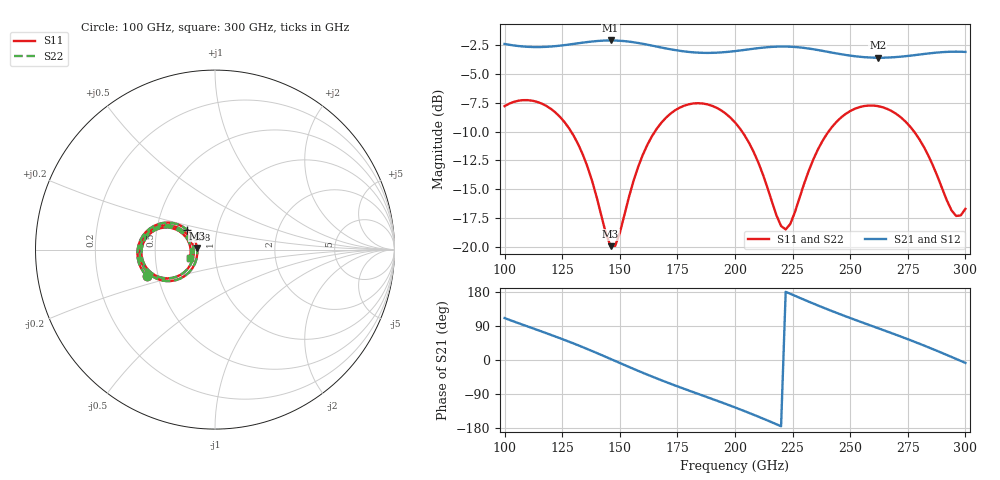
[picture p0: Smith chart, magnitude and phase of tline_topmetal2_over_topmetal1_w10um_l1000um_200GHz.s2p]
#  GHZ S DB R 50
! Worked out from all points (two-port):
!   101 points, 100 GHz to 300 GHz, reference 50 ohm
!   highest |S21| = -2.09 dB at 146 GHz (marker M1); lowest = -3.6 dB at 262 GHz (marker M2)
!   |S21| within 3 dB of the highest: start of sweep to end of sweep
!   lowest |S11| = -20.0 dB at 146 GHz (marker M3), VSWR 1.22, Z = 40.9 + j0.766 ohm
!   |S11| at or under -10 dB: 128.9 GHz to 165.3 GHz (36.4 GHz wide, 24.8 % of centre); 203.1 GHz to 240.6 GHz (37.57 GHz wide, 16.9 % of centre); 277.7 GHz to end of sweep
!   |S22| runs from -20.0 to -7.3 dB; largest |S21 - S12| = 8.9e-14
!   S11 on the Smith chart (normalised r, x): 100 GHz: 0.43, -0.15; 138 GHz: 0.71, +0.17; 300 GHz: 0.75, -0.07
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100  -7.79 -159.1  -2.39 110.6  -2.39 110.6  -7.79 -159.0
108  -7.27 -173.5  -2.61 92.9  -2.61 92.9  -7.27 -173.4
118  -7.76 169.1  -2.64 71.0  -2.64 71.0  -7.76 169.2
126  -9.18 156.0  -2.49 52.9  -2.49 52.9  -9.18 156.0
134  -12.02 145.8  -2.27 33.7  -2.27 33.7  -12.03 145.8
138  -14.31 144.5  -2.18 23.6  -2.18 23.6  -14.31 144.6
146  -19.96 174.7  -2.09 2.8  -2.09 2.8  -19.96 174.8
150  -18.81 -153.8  -2.11 -7.8  -2.11 -7.8  -18.81 -153.7
156  -14.26 -138.7  -2.24 -23.5  -2.24 -23.5  -14.26 -138.7
168  -9.24 -150.4  -2.70 -53.3  -2.70 -53.3  -9.24 -150.3
184  -7.54 -176.3  -3.15 -89.5  -3.15 -89.5  -7.54 -176.3
200  -9.20 158.9  -3.01 -125.2  -3.01 -125.2  -9.20 158.9
212  -13.67 149.3  -2.71 -154.2  -2.71 -154.2  -13.67 149.3
222  -18.50 -175.6  -2.62 179.9  -2.62 179.9  -18.51 -175.6
234  -12.42 -143.8  -2.85 148.9  -2.85 148.9  -12.42 -143.8
248  -8.47 -159.8  -3.35 115.3  -3.35 115.3  -8.47 -159.8
262  -7.79 178.9  -3.59 84.2  -3.59 84.2  -7.79 178.8
268  -8.22 170.0  -3.55 70.9  -3.55 70.9  -8.23 169.9
278  -10.07 157.0  -3.36 47.9  -3.36 47.9  -10.09 156.8
286  -12.99 152.7  -3.17 28.4  -3.17 28.4  -13.04 152.3
294  -16.85 168.9  -3.06 8.0  -3.06 8.0  -16.98 168.6
300  -16.71 -162.1  -3.08 -7.6  -3.08 -7.6  -16.84 -161.6
